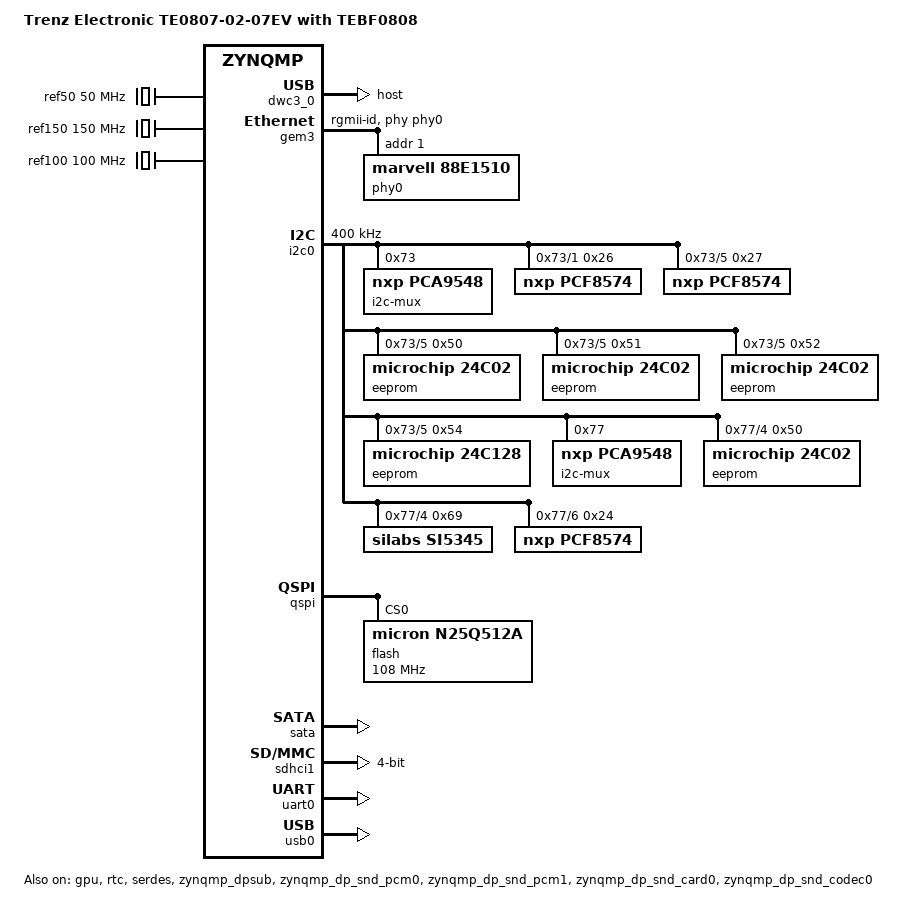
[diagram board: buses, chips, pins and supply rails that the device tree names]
/*
###################################################################################################
# Defines the hardware in the TE0807-02-07EV Trenz Electronic Board with TEBF0808 Carrier Card.
# Copyright Sequent Logic 2022
###################################################################################################
*/

/ {
	model = "Trenz Electronic TE0807-02-07EV with TEBF0808";
	compatible = "xlnx,te0807-02-07ev", "xlnx,zynqmp";

	aliases {
		ethernet0 = &gem3;
		gpio0 = &gpio;
		i2c0 = &i2c0;
		mmc0 = &sdhci1;
		mmc1 = &sdhci0;
		rtc0 = &rtc;
		serial0 = &uart0;
		spi0 = &qspi;
		usb0 = &usb0;
	};

	chosen {
		bootargs = "earlycon root=/dev/mmcblk1p2";
		stdout-path = "serial0:115200n8";
		xlnx,eeprom = &eeprom;
	};

	/* 50 MHz clock used to drive SI5345 on SOM */
	ref50: ref50M {
		compatible = "fixed-clock";
		#clock-cells = <0>;
		clock-frequency = <50000000>;
	};

	/* B505 Reference Clock 1 Generated on Carrier */
	ref150: ref150M {
		compatible = "fixed-clock";
		#clock-cells = <0>;
		clock-frequency = <150000000>;
	};

	/* B505 Reference Clock 0 Generated on Carrier */
	ref100: ref100M {
		compatible = "fixed-clock";
		#clock-cells = <0>;
		clock-frequency = <100000000>;
	};
};

/* USB 3.0  */
&dwc3_0 {
	status = "okay";
	dr_mode = "host";
	snps,usb3_lpm_capable;

	/* Configure the GTR lane 1 reference clock 3 clock */
	/* Set output 6 to use synthesizer 3 as it's parent */
	assigned-clocks = <&si5345 0 6>;
	assigned-clock-parents = <&si5345 1 3>;

	/* Set output 6 to 26 MHz */
	assigned-clock-rates = <26000000>;
};
   
/* ETH PHY */
&gem3 {
	status = "okay";
	phy-handle = <&phy0>;
	phy-mode = "rgmii-id";
	/*pinctrl-names = "default";
	pinctrl-0 = <&pinctrl_gem3_default>;*/
	phy0: phy@0 {
		compatible = "marvell,88e1510";
		device_type = "ethernet-phy";
		nvmem-cells = <&mac_addr>;
		nvmem-cell-names = "mac-address";
		reg = <1>;
	};
};

&gpu {
	status = "okay";
};

&i2c0 {
	status = "okay";
	clock-frequency = <400000>;

	i2c-mux@73 { /* U16 */
		compatible = "nxp,pca9548";
		#address-cells = <1>;
		#size-cells = <0>;
		reg = <0x73>;
		i2c@0 { /* MCLK */
			#address-cells = <1>;
			#size-cells = <0>;
			reg = <0>;
			/* NC */
		};
		i2c@1 { /* SFP */
			#address-cells = <1>;
			#size-cells = <0>;
			reg = <1>;

			/* U44 (Carrier) */
			pcf8574: pcf8574_0@26 {
				compatible = "nxp,pcf8574";
				reg = <0x26>;
				gpio-controller;
				#gpio-cells = <2>;
				ngpios = <8>;
				gpio-line-names = "SFP2_M-DEF0", "SFP1_TX_FAULT", "SFP2_RS0", "SFP2_RS1", "SFP1_RS1", "SFP1_RS0", "SFP1_M-DEF0", "SFP2_TX_FAULT";
			};
		};
		i2c@2 { /* PCIe */
			#address-cells = <1>;
			#size-cells = <0>;
			reg = <2>;
			/* NC */
		};
		i2c@3 { /* SFP1 */
			#address-cells = <1>;
			#size-cells = <0>;
			reg = <3>;
			/* NC */
		};
		i2c@4 { /* SFP2 */
			#address-cells = <1>;
			#size-cells = <0>;
			reg = <4>;
			/* NC */
		};
		i2c@5 { /* MEM */
			#address-cells = <1>;
			#size-cells = <0>;
			reg = <5>;

			/* U38 (Carrier) */
			pcf8574: pcf8574_1@27 {
				compatible = "nxp,pcf8574";
				reg = <0x27>;
				gpio-controller;
				#gpio-cells = <2>;
				ngpios = <8>;
				gpio-line-names = "WAKE", "PRSNT1", "FMC_PG_M2C", "FMC_PRSNT_M2C", "PRSNT2", "PRSNT3", "PRSNT4", "PRSNT5";
			};

			/* U42 (Carrier)
			   Microchip 24AA025E48T-I/OT
			   2kb (256 Byte) EEPROM
			   16 Byte Pages
			*/
			eeprom: eeprom1@50 {
				/* Include the "atmel,24c02" so that the Xilinx GEM driver will
				   recognize it and load the MAC address from it.
				   */
				compatible = "microchip,24c02", "atmel,24c02";
				pagesize = <16>;
				reg = <0x50>;
				#address-cells = <1>;
				#size-cells = <1>;
				/* read-only */
			};

			/* U41 (Carrier)
			   Microchip 24AA025E48T-I/OT
			   2kb (256 Byte) EEPROM
			   16 Byte Pages
			*/
			eeprom: eeprom2@51 {
				/* Include the "atmel,24c02" so that the Xilinx GEM driver will
				   recognize it and load the MAC address from it.
				   */
				compatible = "microchip,24c02", "atmel,24c02";
				pagesize = <16>;
				reg = <0x51>;
				#address-cells = <1>;
				#size-cells = <1>;
			};

			/* U36 (Carrier)
			   Microchip 24AA025E48T-I/OT
			   2kb (256 Byte) EEPROM
			   16 Byte Pages
			*/
			eeprom: eeprom3@52 {
				/* Include the "atmel,24c02" so that the Xilinx GEM driver will
				   recognize it and load the MAC address from it.
				   */
				compatible = "microchip,24c02", "atmel,24c02";
				pagesize = <16>;
				reg = <0x52>;
				#address-cells = <1>;
				#size-cells = <1>;
			};

			/* U24 (Carrier)
			   Microchip 24LC128-I/ST
			   128kb (16K Byte) EEPROM
			   64 Byte Pages
			*/
			eeprom: eeprom4@54 {
				/* Include the "atmel,24c02" so that the Xilinx GEM driver will
				   recognize it and load the MAC address from it.
				   */
				compatible = "microchip,24c128", "atmel,24c128";
				pagesize = <64>;
				reg = <0x54>;
				#address-cells = <1>;
				#size-cells = <1>;
			};
		};
		i2c@6 { /* FMC */
			#address-cells = <1>;
			#size-cells = <0>;
			reg = <6>;
			/* NC */
		};
		i2c@7 { /* USBH */
			#address-cells = <1>;
			#size-cells = <0>;
			reg = <7>;
			/* NC */
		};
	};

	i2c-mux@77 { /* U16 */
		compatible = "nxp,pca9548";
		#address-cells = <1>;
		#size-cells = <0>;
		reg = <0x77>;
		i2c@0 { /* PMOD */
			#address-cells = <1>;
			#size-cells = <0>;
			reg = <0>;
			/* NC */
		};
		i2c@1 { /* A_I2C */
			#address-cells = <1>;
			#size-cells = <0>;
			reg = <1>;
			/* NC */
		};
		i2c@2 { /* FFA */
			#address-cells = <1>;
			#size-cells = <0>;
			reg = <2>;
			/* NC */
		};
		i2c@3 { /* FFB */
			#address-cells = <1>;
			#size-cells = <0>;
			reg = <3>;
			/* NC */
		};
		i2c@4 { /* PLL */
			#address-cells = <1>;
			#size-cells = <0>;
			reg = <4>;

			/* U11 (SOM)
			Microchip 24AA025E48T-I/OT
			2kb (256 Byte) EEPROM
			16 Byte Pages
			*/
			eeprom: eeprom0@50 {
				/* Include the "atmel,24c02" so that the Xilinx GEM driver will
				   recognize it and load the MAC address from it.
				   */
				compatible = "microchip,24c02", "atmel,24c02";
				pagesize = <16>;
				reg = <0x50>;
				#address-cells = <1>;
				#size-cells = <1>;
				/* read-only */

				/* 
				Designate the last 6 bytes of the EEPROM to
				the MAC address.
				*/
				mac_addr: mac_addr@fa{
					reg = <0xFA 0x6>;
				};
			};

			/* U5 (SOM)
			SI5345A-B-GM
			Clock Generator
			*/
			si5345: clock-generator@69 {
				compatible = "silabs,si5345";
				reg = <0x69>;
				#address-cells = <1>;
				#size-cells = <0>;
				#clock-cells = <2>;

				/* Connect 50 MHz XTAL clock */
				clocks = <&ref50>;
				clock-names = "xtal";

				silabs,pll-m-num = <13200>; /* PLL at 13.2 GHz */
				silabs,pll-m-den = <48>;
				/*silabs,reprogram; /* Don't enbale this if some of the clocks are configured elsewhere. */

				/* Set the reference clock to the 25Mhz (SI5338_REF_SRC_CLKIN3) */
				silab,ref-source = <1>;

				/* If the output clocks are programmed by assigned-clock* later in the device tree then they must
				be a synth-master here (and set to a separate synth-master). If two devices are assigned to the same
				MultiSynth then upon boot the second device will most likely mess up the first (since it will change
				its frequency). To avoid this only 5 of the below outputs are allowed to be synth-masters.*/

				/* GTR 505 Reference Clock 2 (Used for Display Port) */
				out@5 {
					reg = <5>;
					silabs,format = <1>; /* LVDS 3v3 */
					silabs,common-mode = <3>;
					silabs,amplitude = <3>;
					silabs,synth-master; /* Allowed to change dynamically */
					always-on; /* assigned-clocks does not enable so do it here */
				};

				/* GTR 505 Reference Clock 3 (Used for USB3.0) */
				out@6 {
					reg = <6>;
					silabs,format = <1>; /* LVDS 3v3 */
					silabs,common-mode = <3>;
					silabs,amplitude = <3>;
					silabs,synth-master; /* Allowed to change dynamically */
					always-on; /* assigned-clocks does not enable so do it here */
				};
			};
		};
		i2c@5 { /* SC */
			#address-cells = <1>;
			#size-cells = <0>;
			reg = <5>;
			/* NC */
		};
		i2c@6 {
			#address-cells = <1>;
			#size-cells = <0>;
			reg = <6>;

			/* U34 (Carrier) */
			pcf8574: pcf8574_2@24 {
				compatible = "nxp,pcf8574";
				reg = <0x24>;
				gpio-controller;
				#gpio-cells = <2>;
				ngpios = <7>;
				gpio-line-names = "FF_RSTL", "FFB_INTL", "FFB_MSEL", "FFB_MPRS", "FFA_MPRS", "FFA_MSEL", "FFA_INTL";
			};
		};
		i2c@7 { /* EXT */
			#address-cells = <1>;
			#size-cells = <0>;
			reg = <7>;
			/* NC */
		};
	};
};

&qspi {
	#address-cells = <1>;
	#size-cells = <0>;
	status = "okay";
	is-dual = <1>;
	flash@0 {
		compatible = "micron,n25q512a", "jedec,spi-nor"; /* 128MB */
		#address-cells = <1>;
		#size-cells = <1>;
		reg = <0x0>;
		spi-max-frequency = <108000000>; /* Based on Datasheet */

		/* The following partitions are untested and addresses
			may not be correct. */
/*		partition@qspi-fsbl-uboot { /* for testing purpose */
/*			label = "qspi-fsbl-uboot";
			reg = <0x0 0x100000>;
		};
		partition@qspi-linux { /* for testing purpose */
/*			label = "qspi-linux";
			reg = <0x100000 0x500000>;
		};
		partition@qspi-device-tree { /* for testing purpose */
/*			label = "qspi-device-tree";
        	reg = <0x600000 0x20000>;
		};
		partition@qspi-rootfs { /* for testing purpose */
/*			label = "qspi-rootfs";
			reg = <0x620000 0x5E0000>;
		};*/
	};
};

&rtc {
	status = "okay";
};

&sata {
	status = "okay";
};

/* 
    eMMC Card
    Currently unused. If this is enabled there is no guarantee that the kernel will pick the correct
    boot device since mmcblk0p2 can change based on enumeration. Couldn't get UUID to work in uEnv.txt
    so this is currently disabled.
*/
&sdhci0 {
	status = "disabled";
	bus-width = <0x8>;
	xlnx,mio_bank = <0>;
	non-removable;
	disable-wp;
	cap-mmc-hw-reset;
};

/* 
    SD1 with level shifter
    Power Enable, and Write Protect are unused on the TEBF0808 board so the settings
    below accomodate this. Note: disable-wp must be set to prevent a kernel panic if
    the card detect is not available and we are mouting a rw file system.

    The TEBF0808 board has a microSD card slot and SDIO slot. This device tree assumes
    the on-board CPLDs are programmed to correctly route the appropriate signals to the
    SOM (CD, etc.).
*/
&sdhci1 {
	status = "okay";
	bus-width = <0x4>;
	xlnx,has-cd = <0x1>;
	xlnx,has-power = <0x0>;
	xlnx,has-wp = <0x0>;
	no-1-8-v;
	xlnx,mio_bank = <0>;
	disable-wp;
	xlnx,sdio-clk-freq-hz = <0x2faf080>; /* 50 MHz */
	broken-adma2 = <0x1>;
};

&serdes {
	status = "okay";
};

&uart0 {
	status = "okay";
};

&usb0 {
	status = "okay";
	/*/delete-property/ clocks;
	/delete-property/ clock-names;
	clocks = <0x3 0x20>;
	clock-names = "bus_clk";*/
};

&zynqmp_dpsub {
	status = "okay";
//	phy-names = "dp-phy0", "dp-phy1";
	/* Display Port (PHY_TYPE_DP=6) Lane 3 using PS GTR Ref clock 1 at 27 MHz */
	/* Display Port (PHY_TYPE_DP=6) Lane 2 using PS GTR Ref clock 1 at 27 MHz */
//	phys = <&lane3 6 0 1 27000000>, <&lane2 6 1 1 27000000>;

	/* Configure the GTR lane 3 reference clock 2 clock */
	/* Set output 5 to use synthesizer 2 as it's parent */
	assigned-clocks = <&si5341 0 5>;
	assigned-clock-parents = <&si5341 1 2>;

	/* Set output 5 to 27 MHz */
	assigned-clock-rates = <27000000>;
};

&zynqmp_dp_snd_pcm0 {
	status = "okay";
};

&zynqmp_dp_snd_pcm1 {
	status = "okay";
};

&zynqmp_dp_snd_card0 {
	status = "okay";
};

&zynqmp_dp_snd_codec0 {
	status = "okay";
};

&xlnx_dpdma {
	status = "okay";
};
